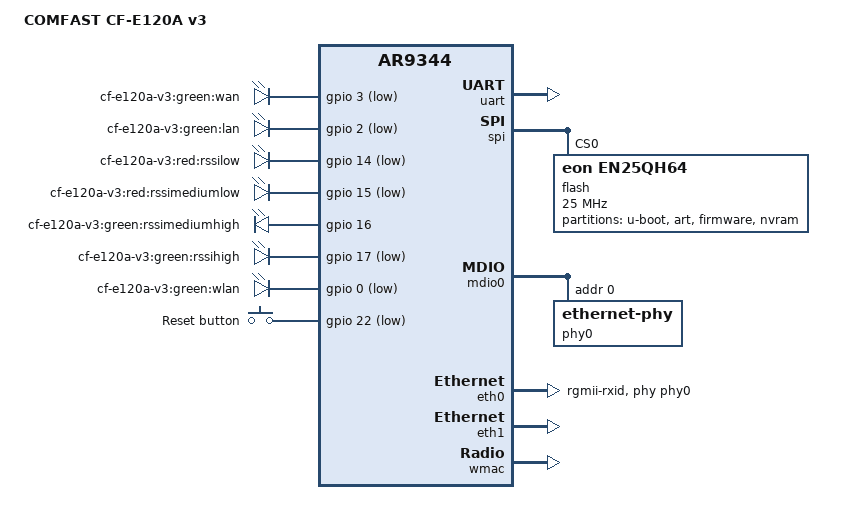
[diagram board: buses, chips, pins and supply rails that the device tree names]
// SPDX-License-Identifier: GPL-2.0-or-later OR MIT
/dts-v1/;

#include <dt-bindings/gpio/gpio.h>
#include <dt-bindings/input/input.h>

#include "ar9344.dtsi"

/ {
	compatible = "comfast,cf-e120a-v3", "qca,ar9344";
	model = "COMFAST CF-E120A v3";

	aliases {
		serial0 = &uart;
		led-boot = &wan;
		led-failsafe = &wan;
		led-upgrade = &wan;
	};

	leds {
		compatible = "gpio-leds";
		pinctrl-0 = <&led_rssimediumhigh_pin>;

		wan: wan {
			label = "cf-e120a-v3:green:wan";
			gpios = <&gpio 3 GPIO_ACTIVE_LOW>;
		};

		lan {
			label = "cf-e120a-v3:green:lan";
			gpios = <&gpio 2 GPIO_ACTIVE_LOW>;
		};

		rssilow {
			label = "cf-e120a-v3:red:rssilow";
			gpios = <&gpio 14 GPIO_ACTIVE_LOW>;
		};

		rssimediumlow {
			label = "cf-e120a-v3:red:rssimediumlow";
			gpios = <&gpio 15 GPIO_ACTIVE_LOW>;
		};

		rssimediumhigh {
			label = "cf-e120a-v3:green:rssimediumhigh";
			gpios = <&gpio 16 GPIO_ACTIVE_HIGH>;
		};

		rssihigh {
			label = "cf-e120a-v3:green:rssihigh";
			gpios = <&gpio 17 GPIO_ACTIVE_LOW>;
		};
	};

	ath9k-leds {
		compatible = "gpio-leds";

		wlan {
			label = "cf-e120a-v3:green:wlan";
			gpios = <&gpio 0 GPIO_ACTIVE_LOW>;
			linux,default-trigger = "phy0tpt";
		};
	};

	keys {
		compatible = "gpio-keys-polled";
		poll-interval = <20>;

		reset {
			label = "Reset button";
			linux,code = <KEY_RESTART>;
			gpios = <&gpio 22 GPIO_ACTIVE_LOW>;
			debounce-interval = <60>;
		};
	};
};

&pinmux {
		led_rssimediumhigh_pin: pinmux_rssimediumhigh_pin {
			pinctrl-single,bits = <0x10 0x0 0xff>;
		};
};

&ref {
	clock-frequency = <40000000>;
};

&uart {
	status = "okay";
};
&spi {
	status = "okay";
	num-cs = <1>;

	flash@0 {
		compatible = "eon,en25qh64", "jedec,spi-nor";
		reg = <0>;
		spi-max-frequency = <25000000>;

		partitions {
			compatible = "fixed-partitions";
			#address-cells = <1>;
			#size-cells = <1>;

			uboot:	partition@0 {
				label = "u-boot";
				reg = <0x000000 0x010000>;
				read-only;
			};

			art: partition@10000 {
				label = "art";
				reg = <0x010000 0x010000>;
				read-only;
			};

			firmware: partition@20000 {
				compatible = "denx,uimage";
				label = "firmware";
				reg = <0x020000 0x7d0000>;
			};

			nvram: partition@ff0000 {
				label = "nvram";
				reg = <0x7f0000 0x010000>;
				read-only;
			};
		};
	};
};

&uart {
	status = "okay";
};

&mdio0 {
	status = "okay";

	phy-mask = <0x10>;

	phy0: ethernet-phy@0 {
		reg = <0>;
	};
};

&eth0 {
	status = "okay";

	pll-data = <0xe000000 0x04000101 0x04001313>;

	mtd-mac-address = <&art 0x0>;

	phy-mode = "rgmii-rxid";
	phy-handle = <&phy0>;

	gmac-config {
		device = <&gmac>;
		rgmii-gmac0 = <1>;
		rxd-delay = <1>;
		rxdv-delay = <1>;
	};
};

&eth1 {
	status = "okay";
	mtd-mac-address = <&art 0x1002>;
};

&wmac {
	status = "okay";
	mtd-cal-data = <&art 0x1000>;
	mtd-mac-address = <&art 0x6>;
};
